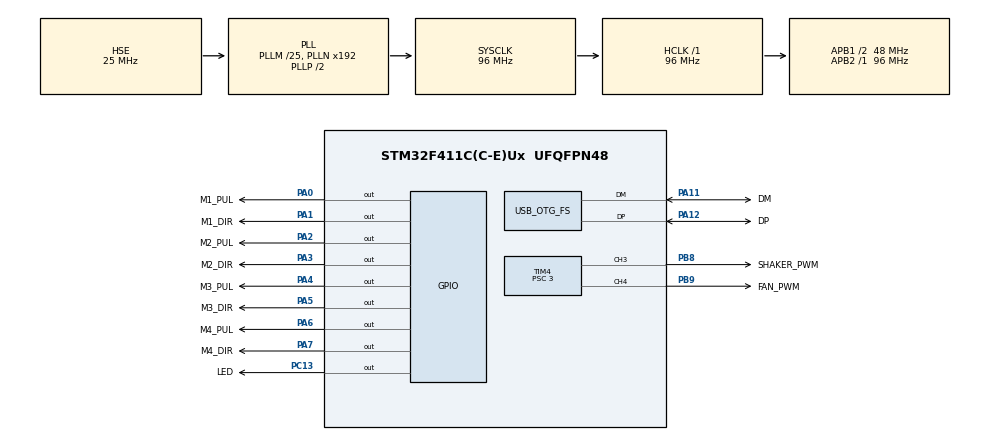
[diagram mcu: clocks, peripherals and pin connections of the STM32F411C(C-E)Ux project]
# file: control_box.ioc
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Mcu.Family=STM32F4
Mcu.Name=STM32F411C(C-E)Ux
Mcu.Package=UFQFPN48
NVIC.OTG_FS_IRQn=true\:0\:0\:false\:false\:true\:true\:true
NVIC.PriorityGroup=NVIC_PRIORITYGROUP_4
PA0-WKUP.GPIO_Label=M1_PUL
PA0-WKUP.GPIO_Speed=GPIO_SPEED_FREQ_HIGH
PA0-WKUP.Signal=GPIO_Output
PA1.GPIO_Label=M1_DIR
PA1.GPIO_Speed=GPIO_SPEED_FREQ_HIGH
PA1.Signal=GPIO_Output
PA11.GPIO_Label=DM
PA11.Mode=Device_Only
PA11.Signal=USB_OTG_FS_DM
PA12.GPIO_Label=DP
PA12.Mode=Device_Only
PA12.Signal=USB_OTG_FS_DP
PA13.GPIO_Label=SWDIO
PA13.Mode=Serial_Wire
PA13.Signal=SYS_JTMS-SWDIO
PA14.GPIO_Label=SWCLK
PA14.Mode=Serial_Wire
PA14.Signal=SYS_JTCK-SWCLK
PA2.GPIO_Label=M2_PUL
PA2.GPIO_Speed=GPIO_SPEED_FREQ_HIGH
PA2.Signal=GPIO_Output
PA3.GPIO_Label=M2_DIR
PA3.GPIO_Speed=GPIO_SPEED_FREQ_HIGH
PA3.Signal=GPIO_Output
PA4.GPIO_Label=M3_PUL
PA4.GPIO_Speed=GPIO_SPEED_FREQ_HIGH
PA4.Signal=GPIO_Output
PA5.GPIO_Label=M3_DIR
PA5.GPIO_Speed=GPIO_SPEED_FREQ_HIGH
PA5.Signal=GPIO_Output
PA6.GPIO_Label=M4_PUL
PA6.GPIO_Speed=GPIO_SPEED_FREQ_HIGH
PA6.Signal=GPIO_Output
PA7.GPIO_Label=M4_DIR
PA7.GPIO_Speed=GPIO_SPEED_FREQ_HIGH
PA7.Signal=GPIO_Output
PB3.GPIO_Label=SWO
PB3.Signal=SYS_JTDO-SWO
PB8.GPIO_Label=SHAKER_PWM
PB8.GPIO_Speed=GPIO_SPEED_FREQ_HIGH
PB8.Signal=S_TIM4_CH3
PB9.GPIO_Label=FAN_PWM
PB9.GPIO_ModeDefaultPP=GPIO_MODE_AF_PP
PB9.GPIO_Speed=GPIO_SPEED_FREQ_HIGH
PB9.Signal=S_TIM4_CH4
PC13-ANTI_TAMP.GPIO_Label=LED
PC13-ANTI_TAMP.Signal=GPIO_Output
PH0\ -\ OSC_IN.Mode=HSE-External-Oscillator
PH0\ -\ OSC_IN.Signal=RCC_OSC_IN
PH1\ -\ OSC_OUT.Mode=HSE-External-Oscillator
PH1\ -\ OSC_OUT.Signal=RCC_OSC_OUT
ProjectManager.HeapSize=0x200
ProjectManager.StackSize=0x400
ProjectManager.TargetToolchain=Makefile
RCC.48MHZClocksFreq_Value=48000000
RCC.AHBFreq_Value=96000000
RCC.APB1CLKDivider=RCC_HCLK_DIV2
RCC.APB1Freq_Value=48000000
RCC.APB1TimFreq_Value=96000000
RCC.APB2Freq_Value=96000000
RCC.APB2TimFreq_Value=96000000
RCC.CortexFreq_Value=96000000
RCC.HCLKFreq_Value=96000000
RCC.HSE_VALUE=25000000
RCC.HSI_VALUE=16000000
RCC.LSE_VALUE=32768
RCC.PLLM=25
RCC.SYSCLKFreq_VALUE=96000000
RCC.SYSCLKSource=RCC_SYSCLKSOURCE_PLLCLK
RCC.VCOOutputFreq_Value=192000000
SH.S_TIM4_CH3.0=TIM4_CH3,PWM Generation3 CH3
SH.S_TIM4_CH4.0=TIM4_CH4,PWM Generation4 CH4
TIM3.Prescaler=95
TIM4.AutoReloadPreload=TIM_AUTORELOAD_PRELOAD_ENABLE
TIM4.Channel-PWM\ Generation3\ CH3=TIM_CHANNEL_3
TIM4.Channel-PWM\ Generation4\ CH4=TIM_CHANNEL_4
TIM4.Period=1000
TIM4.Prescaler=3
USB_DEVICE.CLASS_NAME_FS=CDC
USB_DEVICE.VirtualMode=Cdc
USB_DEVICE.VirtualModeFS=Cdc_FS
USB_OTG_FS.VirtualMode=Device_Only
VP_TIM3_VS_ClockSourceINT.Mode=Internal
VP_TIM4_VS_ClockSourceINT.Mode=Internal
VP_USB_DEVICE_VS_USB_DEVICE_CDC_FS.Mode=CDC_FS
board=custom

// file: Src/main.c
/* USER CODE BEGIN Header */
/**
  ******************************************************************************
  * @file           : main.c
  * @brief          : Main program body
  ******************************************************************************
  * @attention
  *
  * Copyright (c) 2024 STMicroelectronics.
  * All rights reserved.
  *
  * This software is licensed under terms that can be found in the LICENSE file
  * in the root directory of this software component.
  * If no LICENSE file comes with this software, it is provided AS-IS.
  *
  ******************************************************************************
  */
/* USER CODE END Header */
#include "main.h"
#include "usb_device.h"

/* USER CODE BEGIN Includes */

#include "usbd_cdc_if.h"

/* USER CODE END Includes */

TIM_HandleTypeDef htim3;
TIM_HandleTypeDef htim4;

void SystemClock_Config(void);
static void MX_GPIO_Init(void);
static void MX_TIM3_Init(void);
static void MX_TIM4_Init(void);
/* USER CODE BEGIN PFP */

void Delay_Us (uint16_t us);

/* USER CODE END PFP */

int main(void)
{

  /* MCU Configuration--------------------------------------------------------*/

  /* Reset of all peripherals, Initializes the Flash interface and the Systick. */
  HAL_Init();

  /* Configure the system clock */
  SystemClock_Config();

  /* Initialize all configured peripherals */
  MX_GPIO_Init();
  MX_USB_DEVICE_Init();
  MX_TIM3_Init();
  MX_TIM4_Init();
  /* USER CODE BEGIN 2 */

  HAL_GPIO_WritePin (M1_PUL_GPIO_Port, M1_PUL_Pin, GPIO_PIN_SET);
  HAL_GPIO_WritePin (M2_PUL_GPIO_Port, M2_PUL_Pin, GPIO_PIN_SET);
  HAL_GPIO_WritePin (M3_PUL_GPIO_Port, M3_PUL_Pin, GPIO_PIN_SET);
  HAL_GPIO_WritePin (M4_PUL_GPIO_Port, M4_PUL_Pin, GPIO_PIN_SET);

  HAL_TIM_Base_Start(&htim3);

  uint16_t M_Pos[4] = {0};
  uint16_t M_Pos_Target[4] = {0};

  GPIO_PinState M_Dir[4] =
   {GPIO_PIN_RESET,
    GPIO_PIN_RESET,
    GPIO_PIN_RESET,
    GPIO_PIN_RESET};

  GPIO_TypeDef *M_PUL_GPIO_Port[4] =
   {M1_PUL_GPIO_Port,
    M2_PUL_GPIO_Port,
    M3_PUL_GPIO_Port,
    M4_PUL_GPIO_Port};

  const uint16_t M_PUL_Pin[4] =
   {M1_PUL_Pin,
    M2_PUL_Pin,
    M3_PUL_Pin,
    M4_PUL_Pin};

  GPIO_TypeDef *M_DIR_GPIO_Port[4] =
   {M1_DIR_GPIO_Port,
    M2_DIR_GPIO_Port,
    M3_DIR_GPIO_Port,
    M4_DIR_GPIO_Port};

  const uint16_t M_DIR_Pin[4] =
   {M1_DIR_Pin,
    M2_DIR_Pin,
    M3_DIR_Pin,
    M4_DIR_Pin};

  uint16_t M_Speed        = 0; // step/s
  uint16_t M_Target_Speed = 0; // step/s

  // TODO: remove after correct value found and use define instead
  uint16_t M_MAX_SPEED        = 25000;
  uint16_t M_MAX_ACCELERATION = 0;

  HAL_TIM_PWM_Start(&htim4, TIM_CHANNEL_3);
  HAL_TIM_PWM_Start(&htim4, TIM_CHANNEL_4);

  __HAL_TIM_SET_COMPARE(&htim4, TIM_CHANNEL_3, 500);

  /* USER CODE END 2 */

  /* Infinite loop */
  while (1)
  {

    /* USER CODE BEGIN 3 */

    if (Is_New_Data() > 0) {
      HAL_GPIO_TogglePin (LED_GPIO_Port, LED_Pin);

      M_Pos_Target[0] = Get_M1_Pos_Target();
      M_Pos_Target[1] = Get_M2_Pos_Target();
      M_Pos_Target[2] = Get_M3_Pos_Target();
      M_Pos_Target[3] = Get_M4_Pos_Target();

      M_MAX_SPEED        = (uint16_t)(Get_Max_Speed()) * 100;
      M_MAX_ACCELERATION = (uint16_t)(Get_Max_Acceleration()) * 100;

      uint16_t Dist[4] = {0};

      for (int i = 0; i < 4; i++) {
        if (M_Pos[i] > M_Pos_Target[i]) {
          Dist[i] = M_Pos[i] - M_Pos_Target[i];
        } else {
          Dist[i] = M_Pos_Target[i] - M_Pos[i];
        }
      }

      if (Dist[0] > 0 ||
          Dist[1] > 0 ||
          Dist[2] > 0 ||
          Dist[3] > 0) {
        M_Target_Speed =
         (uint16_t)(MIN(((int)(MAX(MAX(MAX(Dist[0], Dist[1]), Dist[2]), Dist[3])) * 1000000) / MESSAGE_PERIOD, M_MAX_SPEED));
      }

      __HAL_TIM_SET_COMPARE(&htim4, TIM_CHANNEL_3, 500 + (Get_Shaker_PWM() * 2));
      __HAL_TIM_SET_COMPARE(&htim4, TIM_CHANNEL_4, Get_Fan_PWM() * 4);
    }

    if (M_Pos[0] != M_Pos_Target[0] ||
        M_Pos[1] != M_Pos_Target[1] ||
        M_Pos[2] != M_Pos_Target[2] ||
        M_Pos[3] != M_Pos_Target[3]) {
      uint8_t Change_DIR = 0;

      for (int i = 0; i < 4; i++) {
        if (M_Pos[i] != M_Pos_Target[i]) {
          const GPIO_PinState New_Dir =
           (M_Pos[i] < M_Pos_Target[i]) ? GPIO_PIN_RESET : GPIO_PIN_SET;

          if (New_Dir != M_Dir[i]) {
            HAL_GPIO_WritePin (M_DIR_GPIO_Port[i], M_DIR_Pin[i], New_Dir);

            M_Dir[i] = New_Dir;

            Change_DIR = 1;
          }
        }
      }

      if (Change_DIR > 0) {
        Delay_Us(DIR_DELAY);
      }

      for (int i = 0; i < 4; i++) {
        if (M_Pos[i] != M_Pos_Target[i]) {
          HAL_GPIO_WritePin (M_PUL_GPIO_Port[i], M_PUL_Pin[i], GPIO_PIN_RESET);
        }
      }

      Delay_Us(PUL_DOWN_DELAY);

      for (int i = 0; i < 4; i++) {
        if (M_Pos[i] != M_Pos_Target[i]) {
          if (M_Dir[i] == GPIO_PIN_RESET) {
            M_Pos[i]++;
          } else {
            M_Pos[i]--;
          }

          HAL_GPIO_WritePin (M_PUL_GPIO_Port[i], M_PUL_Pin[i], GPIO_PIN_SET);
        }
      }

      if (M_Speed != M_Target_Speed)
      {
        int error = M_Target_Speed - M_Speed;

        if (abs(error) < M_MAX_ACCELERATION)
        {
          M_Speed = M_Target_Speed;
        }
        else
        {
          if (error > 0)
          {
            M_Speed += M_MAX_ACCELERATION;
          }
          else
          {
            M_Speed -= M_MAX_ACCELERATION;
          }
        }
      }

      if (M_Speed > 0)
      {
        Delay_Us((uint16_t)(MIN(1000000 / (int)(M_Speed), 65535)));
      }
    }
    else
    {
      M_Speed = 0;
    }
  }

  /* USER CODE END 3 */
}

void SystemClock_Config(void)
{
  RCC_OscInitTypeDef RCC_OscInitStruct = {0};
  RCC_ClkInitTypeDef RCC_ClkInitStruct = {0};

  /** Configure the main internal regulator output voltage
  */
  __HAL_RCC_PWR_CLK_ENABLE();
  __HAL_PWR_VOLTAGESCALING_CONFIG(PWR_REGULATOR_VOLTAGE_SCALE1);
  /** Initializes the RCC Oscillators according to the specified parameters
  * in the RCC_OscInitTypeDef structure.
  */
  RCC_OscInitStruct.OscillatorType = RCC_OSCILLATORTYPE_HSE;
  RCC_OscInitStruct.HSEState = RCC_HSE_ON;
  RCC_OscInitStruct.PLL.PLLState = RCC_PLL_ON;
  RCC_OscInitStruct.PLL.PLLSource = RCC_PLLSOURCE_HSE;
  RCC_OscInitStruct.PLL.PLLM = 25;
  RCC_OscInitStruct.PLL.PLLN = 192;
  RCC_OscInitStruct.PLL.PLLP = RCC_PLLP_DIV2;
  RCC_OscInitStruct.PLL.PLLQ = 4;
  if (HAL_RCC_OscConfig(&RCC_OscInitStruct) != HAL_OK)
  {
    Error_Handler();
  }
  /** Initializes the CPU, AHB and APB buses clocks
  */
  RCC_ClkInitStruct.ClockType = RCC_CLOCKTYPE_HCLK|RCC_CLOCKTYPE_SYSCLK
                              |RCC_CLOCKTYPE_PCLK1|RCC_CLOCKTYPE_PCLK2;
  RCC_ClkInitStruct.SYSCLKSource = RCC_SYSCLKSOURCE_PLLCLK;
  RCC_ClkInitStruct.AHBCLKDivider = RCC_SYSCLK_DIV1;
  RCC_ClkInitStruct.APB1CLKDivider = RCC_HCLK_DIV2;
  RCC_ClkInitStruct.APB2CLKDivider = RCC_HCLK_DIV1;

  if (HAL_RCC_ClockConfig(&RCC_ClkInitStruct, FLASH_LATENCY_3) != HAL_OK)
  {
    Error_Handler();
  }
}

static void MX_TIM3_Init(void)
{

  TIM_ClockConfigTypeDef sClockSourceConfig = {0};
  TIM_MasterConfigTypeDef sMasterConfig = {0};

  htim3.Instance = TIM3;
  htim3.Init.Prescaler = 95;
  htim3.Init.CounterMode = TIM_COUNTERMODE_UP;
  htim3.Init.Period = 65535;
  htim3.Init.ClockDivision = TIM_CLOCKDIVISION_DIV1;
  htim3.Init.AutoReloadPreload = TIM_AUTORELOAD_PRELOAD_DISABLE;
  if (HAL_TIM_Base_Init(&htim3) != HAL_OK)
  {
    Error_Handler();
  }
  sClockSourceConfig.ClockSource = TIM_CLOCKSOURCE_INTERNAL;
  if (HAL_TIM_ConfigClockSource(&htim3, &sClockSourceConfig) != HAL_OK)
  {
    Error_Handler();
  }
  sMasterConfig.MasterOutputTrigger = TIM_TRGO_RESET;
  sMasterConfig.MasterSlaveMode = TIM_MASTERSLAVEMODE_DISABLE;
  if (HAL_TIMEx_MasterConfigSynchronization(&htim3, &sMasterConfig) != HAL_OK)
  {
    Error_Handler();
  }

}

static void MX_TIM4_Init(void)
{

  TIM_ClockConfigTypeDef sClockSourceConfig = {0};
  TIM_MasterConfigTypeDef sMasterConfig = {0};
  TIM_OC_InitTypeDef sConfigOC = {0};

  htim4.Instance = TIM4;
  htim4.Init.Prescaler = 3;
  htim4.Init.CounterMode = TIM_COUNTERMODE_UP;
  htim4.Init.Period = 1000;
  htim4.Init.ClockDivision = TIM_CLOCKDIVISION_DIV1;
  htim4.Init.AutoReloadPreload = TIM_AUTORELOAD_PRELOAD_ENABLE;
  if (HAL_TIM_Base_Init(&htim4) != HAL_OK)
  {
    Error_Handler();
  }
  sClockSourceConfig.ClockSource = TIM_CLOCKSOURCE_INTERNAL;
  if (HAL_TIM_ConfigClockSource(&htim4, &sClockSourceConfig) != HAL_OK)
  {
    Error_Handler();
  }
  if (HAL_TIM_PWM_Init(&htim4) != HAL_OK)
  {
    Error_Handler();
  }
  sMasterConfig.MasterOutputTrigger = TIM_TRGO_RESET;
  sMasterConfig.MasterSlaveMode = TIM_MASTERSLAVEMODE_DISABLE;
  if (HAL_TIMEx_MasterConfigSynchronization(&htim4, &sMasterConfig) != HAL_OK)
  {
    Error_Handler();
  }
  sConfigOC.OCMode = TIM_OCMODE_PWM1;
  sConfigOC.Pulse = 0;
  sConfigOC.OCPolarity = TIM_OCPOLARITY_HIGH;
  sConfigOC.OCFastMode = TIM_OCFAST_DISABLE;
  if (HAL_TIM_PWM_ConfigChannel(&htim4, &sConfigOC, TIM_CHANNEL_3) != HAL_OK)
  {
    Error_Handler();
  }
  if (HAL_TIM_PWM_ConfigChannel(&htim4, &sConfigOC, TIM_CHANNEL_4) != HAL_OK)
  {
    Error_Handler();
  }
  HAL_TIM_MspPostInit(&htim4);

}

static void MX_GPIO_Init(void)
{
  GPIO_InitTypeDef GPIO_InitStruct = {0};

  /* GPIO Ports Clock Enable */
  __HAL_RCC_GPIOC_CLK_ENABLE();
  __HAL_RCC_GPIOH_CLK_ENABLE();
  __HAL_RCC_GPIOA_CLK_ENABLE();
  __HAL_RCC_GPIOB_CLK_ENABLE();

  /*Configure GPIO pin Output Level */
  HAL_GPIO_WritePin(LED_GPIO_Port, LED_Pin, GPIO_PIN_RESET);

  /*Configure GPIO pin Output Level */
  HAL_GPIO_WritePin(GPIOA, M1_PUL_Pin|M1_DIR_Pin|M2_PUL_Pin|M2_DIR_Pin
                          |M3_PUL_Pin|M3_DIR_Pin|M4_PUL_Pin|M4_DIR_Pin, GPIO_PIN_RESET);

  /*Configure GPIO pin : LED_Pin */
  GPIO_InitStruct.Pin = LED_Pin;
  GPIO_InitStruct.Mode = GPIO_MODE_OUTPUT_PP;
  GPIO_InitStruct.Pull = GPIO_NOPULL;
  GPIO_InitStruct.Speed = GPIO_SPEED_FREQ_LOW;
  HAL_GPIO_Init(LED_GPIO_Port, &GPIO_InitStruct);

  /*Configure GPIO pins : M1_PUL_Pin M1_DIR_Pin M2_PUL_Pin M2_DIR_Pin
                           M3_PUL_Pin M3_DIR_Pin M4_PUL_Pin M4_DIR_Pin */
  GPIO_InitStruct.Pin = M1_PUL_Pin|M1_DIR_Pin|M2_PUL_Pin|M2_DIR_Pin
                          |M3_PUL_Pin|M3_DIR_Pin|M4_PUL_Pin|M4_DIR_Pin;
  GPIO_InitStruct.Mode = GPIO_MODE_OUTPUT_PP;
  GPIO_InitStruct.Pull = GPIO_NOPULL;
  GPIO_InitStruct.Speed = GPIO_SPEED_FREQ_HIGH;
  HAL_GPIO_Init(GPIOA, &GPIO_InitStruct);

}

/* USER CODE BEGIN 4 */

void Delay_Us (uint16_t us)
{
  __HAL_TIM_SET_COUNTER(&htim3, 0);
  while (__HAL_TIM_GET_COUNTER(&htim3) < us);
}

/* USER CODE END 4 */

void Error_Handler(void)
{
  __disable_irq();
  while (1)
  {
  }
}
